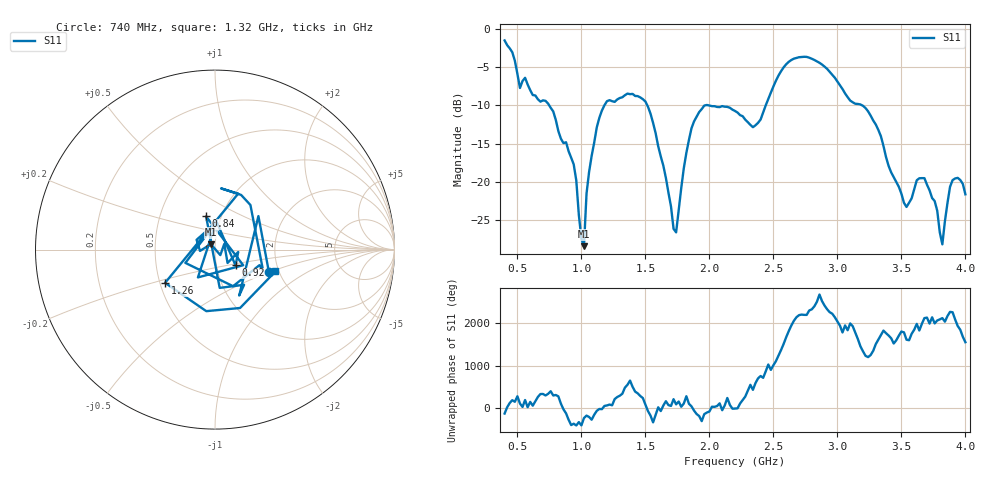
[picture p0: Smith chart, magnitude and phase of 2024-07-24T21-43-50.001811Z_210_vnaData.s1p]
!Created with skrf (http://scikit-rf.org).
# Hz S RI R 50.0
!freq ReS11 ImS11
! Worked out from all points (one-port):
!   181 points, 400 MHz to 4 GHz, reference 50 ohm
!   lowest |S11| = -28.4 dB at 1.02 GHz (marker M1), VSWR 1.08, Z = 47.7 + j2.89 ohm
!   |S11| at or under -10 dB: 749 MHz to 1.179 GHz (430.1 MHz wide, 44.6 % of centre); 1.515 GHz to 1.962 GHz (446.9 MHz wide, 25.7 % of centre); 3.195 GHz to end of sweep (the widest 3 of 4)
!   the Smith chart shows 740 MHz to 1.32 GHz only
!   S11 on the Smith chart (normalised r, x): 740 MHz: 1.77, -0.49; 840 MHz: 0.85, +0.33; 920 MHz: 1.24, -0.22; 1.26 GHz: 0.53, -0.22; 1.32 GHz: 1.92, -0.54
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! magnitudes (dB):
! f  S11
! 400 MHz  -1.5
! 520 MHz  -7.7
! 740 MHz  -9.8
! 840 MHz  -14.3
! 860 MHz  -14.9
! 920 MHz  -16.8
! 1.02 GHz  -28.4
! 1.04 GHz  -21.5
! 1.12 GHz  -12.9
! 1.26 GHz  -9.5
! 1.3 GHz  -9.0
! 1.32 GHz  -8.9
! 1.5 GHz  -9.5
! 1.64 GHz  -17.9
! 1.72 GHz  -26.1
! 1.76 GHz  -23.7
! 1.84 GHz  -14.5
! 1.92 GHz  -10.9
! 2.2 GHz  -10.7
! 2.36 GHz  -12.6
! 2.66 GHz  -3.9
! 3.1 GHz  -9.4
! 3.3 GHz  -12.5
! 3.56 GHz  -22.7
! 3.68 GHz  -19.5
! 3.82 GHz  -28.2
! 3.9 GHz  -19.8
! 4 GHz  -21.6
